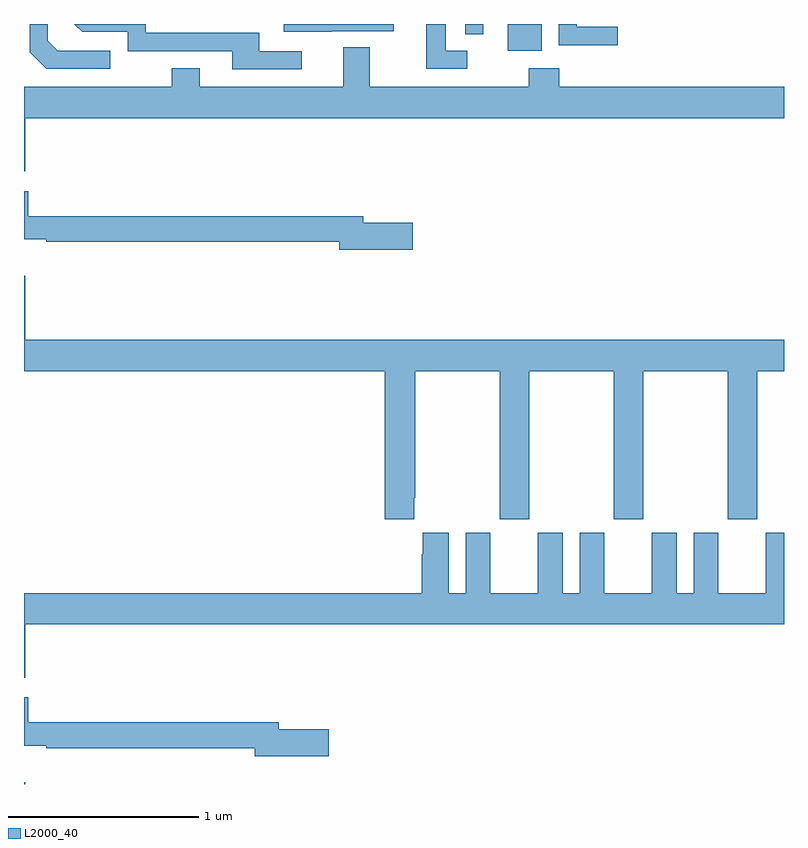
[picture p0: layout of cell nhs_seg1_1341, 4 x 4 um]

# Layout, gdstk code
import gdstk
lib = gdstk.Library(unit=1e-6, precision=1e-09)
def R(c, l, rs):  # rectangles x0, y0, x1, y1
    for r in rs: c.add(gdstk.rectangle(r[:2], r[2:], *l))
def P(c, l, *ps):  # polygons
    for p in ps: c.add(gdstk.Polygon(p, *l))
L2000_40 = (2000, 40)

nhs_seg1_1341 = lib.new_cell('nhs_seg1_1341')
R(nhs_seg1_1341, L2000_40, [(183,576.199,183.007,576.209), (185.546,580.058,185.725,580.199), (185.322,580.144,185.418,580.199)])
P(nhs_seg1_1341, L2000_40, [(183.454,580.059),(183.177,580.059),(183.126,580.11),(183.126,580.199),(183.03,580.199),(183.03,580.05),(183.117,579.963),(183.454,579.963)],
  [(186.124,580.185),(185.91,580.185),(185.91,580.199),(185.814,580.199),(185.814,580.087),(186.124,580.087)],
  [(184.462,580.056),(184.237,580.056),(184.237,580.152),(183.642,580.152),(183.642,580.199),(183.265,580.199),(183.306,580.158),(183.546,580.158),(183.546,580.056),(184.097,580.056),(184.097,579.96),(184.462,579.96)],
  [(184.621,580.161),(184.945,580.161),(184.945,580.199),(184.367,580.199),(184.367,580.157),(184.621,580.157)],
  [(185.332,580.059),(185.221,580.059),(185.221,580.199),(185.117,580.199),(185.117,579.963),(185.332,579.963)],
  [(183.007,579.704),(187,579.704),(187,579.868),(185.816,579.868),(185.816,579.967),(185.656,579.967),(185.656,579.868),(184.819,579.868),(184.819,580.076),(184.679,580.076),(184.679,579.868),(183.925,579.868),(183.925,579.967),(183.778,579.967),(183.778,579.868),(183,579.868),(183,579.423),(183.007,579.423)],
  [(185.047,579.152),(184.786,579.152),(184.786,579.188),(183.022,579.188),(183.022,579.319),(183,579.319),(183,579.065),(183.118,579.065),(183.118,579.052),(184.658,579.052),(184.658,579.01),(185.047,579.01)],
  [(183.007,578.873),(183,578.873),(183,578.372),(184.898,578.372),(184.898,577.593),(185.053,577.593),(185.053,577.705),(185.058,577.705),(185.058,578.372),(185.503,578.372),(185.503,577.593),(185.658,577.593),(185.658,578.372),(186.103,578.372),(186.103,577.593),(186.258,577.593),(186.258,578.372),(186.703,578.372),(186.703,577.593),(186.858,577.593),(186.858,578.372),(187,578.372),(187,578.536),(183.007,578.536)],
  [(183.007,577.04),(187,577.04),(187,577.522),(186.905,577.522),(186.905,577.204),(186.655,577.204),(186.655,577.522),(186.524,577.522),(186.524,577.204),(186.436,577.204),(186.436,577.522),(186.305,577.522),(186.305,577.204),(186.055,577.204),(186.055,577.522),(185.924,577.522),(185.924,577.204),(185.836,577.204),(185.836,577.522),(185.705,577.522),(185.705,577.204),(185.455,577.204),(185.455,577.522),(185.324,577.522),(185.324,577.204),(185.236,577.204),(185.236,577.522),(185.099,577.522),(185.099,577.409),(185.093,577.409),(185.093,577.204),(183,577.204),(183,576.759),(183.007,576.759)],
  [(184.603,576.488),(184.342,576.488),(184.342,576.524),(183.022,576.524),(183.022,576.655),(183,576.655),(183,576.401),(183.118,576.401),(183.118,576.388),(184.214,576.388),(184.214,576.346),(184.603,576.346)])

lib.write_gds('nhs_seg1_1341.gds')
